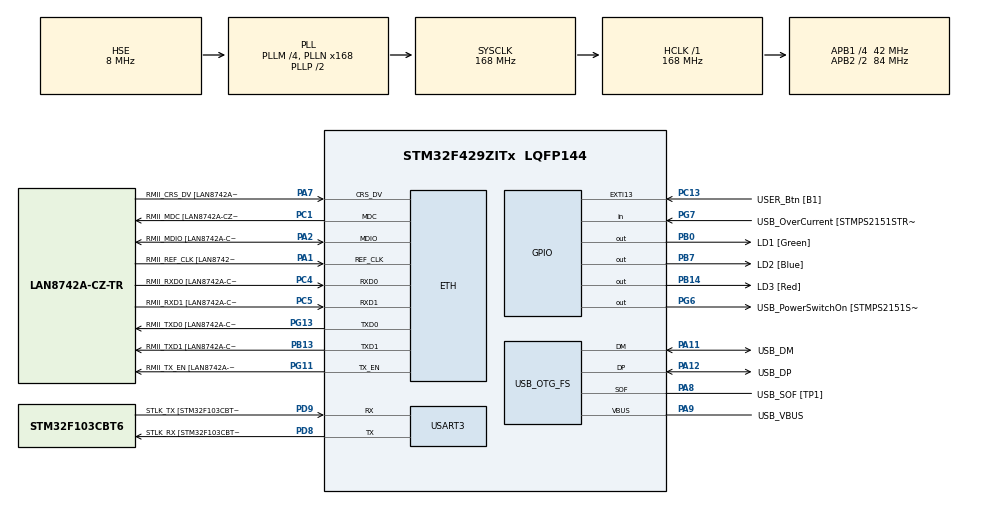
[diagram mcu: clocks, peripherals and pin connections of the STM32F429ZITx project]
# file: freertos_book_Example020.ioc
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ETH.MediaInterface=HAL_ETH_RMII_MODE
ETH.PHY_Name=LAN8742A_PHY_ADDRESS
ETH.PHY_Value=0
ETH.PhyAddress=0
FREERTOS.MEMORY_ALLOCATION=0
FREERTOS.Tasks01=defaultTask,0,128,StartDefaultTask,Default,NULL,Dynamic,NULL,NULL
FREERTOS.configUSE_NEWLIB_REENTRANT=1
Mcu.Family=STM32F4
Mcu.Name=STM32F429ZITx
Mcu.Package=LQFP144
NVIC.PriorityGroup=NVIC_PRIORITYGROUP_4
NVIC.TIM7_IRQn=true\:15\:0\:false\:false\:true\:false\:false\:true\:true
NVIC.TimeBase=TIM7_IRQn
NVIC.TimeBaseIP=TIM7
PA1.GPIO_Label=RMII_REF_CLK [LAN8742A-CZ-TR_REFCLK0]
PA1.Mode=RMII
PA1.Signal=ETH_REF_CLK
PA10.GPIO_Label=USB_ID
PA10.Signal=USB_OTG_FS_ID
PA11.GPIO_Label=USB_DM
PA11.Mode=Device_Only
PA11.Signal=USB_OTG_FS_DM
PA12.GPIO_Label=USB_DP
PA12.Mode=Device_Only
PA12.Signal=USB_OTG_FS_DP
PA13.GPIO_Label=TMS
PA13.Mode=Serial_Wire
PA13.Signal=SYS_JTMS-SWDIO
PA14.GPIO_Label=TCK
PA14.Mode=Serial_Wire
PA14.Signal=SYS_JTCK-SWCLK
PA2.GPIO_Label=RMII_MDIO [LAN8742A-CZ-TR_MDIO]
PA2.Mode=RMII
PA2.Signal=ETH_MDIO
PA7.GPIO_Label=RMII_CRS_DV [LAN8742A-CZ-TR_CRS_DV]
PA7.Mode=RMII
PA7.Signal=ETH_CRS_DV
PA8.GPIO_Label=USB_SOF [TP1]
PA8.Mode=Activate_SOF_FS
PA8.Signal=USB_OTG_FS_SOF
PA9.GPIO_Label=USB_VBUS
PA9.Mode=Activate_VBUS
PA9.Signal=USB_OTG_FS_VBUS
PB0.GPIO_Label=LD1 [Green]
PB0.Signal=GPIO_Output
PB13.GPIO_Label=RMII_TXD1 [LAN8742A-CZ-TR_TXD1]
PB13.Mode=RMII
PB13.Signal=ETH_TXD1
PB14.GPIO_Label=LD3 [Red]
PB14.Signal=GPIO_Output
PB7.GPIO_Label=LD2 [Blue]
PB7.Signal=GPIO_Output
PC1.GPIO_Label=RMII_MDC [LAN8742A-CZ-TR_MDC]
PC1.Mode=RMII
PC1.Signal=ETH_MDC
PC13.GPIO_Label=USER_Btn [B1]
PC13.Signal=GPXTI13
PC14/OSC32_IN.Mode=LSE-External-Oscillator
PC14/OSC32_IN.Signal=RCC_OSC32_IN
PC15/OSC32_OUT.Mode=LSE-External-Oscillator
PC15/OSC32_OUT.Signal=RCC_OSC32_OUT
PC4.GPIO_Label=RMII_RXD0 [LAN8742A-CZ-TR_RXD0]
PC4.Mode=RMII
PC4.Signal=ETH_RXD0
PC5.GPIO_Label=RMII_RXD1 [LAN8742A-CZ-TR_RXD1]
PC5.Mode=RMII
PC5.Signal=ETH_RXD1
PD8.GPIO_Label=STLK_RX [STM32F103CBT6_PA3]
PD8.Mode=Asynchronous
PD8.Signal=USART3_TX
PD9.GPIO_Label=STLK_TX [STM32F103CBT6_PA2]
PD9.Mode=Asynchronous
PD9.Signal=USART3_RX
PG11.GPIO_Label=RMII_TX_EN [LAN8742A-CZ-TR_TXEN]
PG11.Mode=RMII
PG11.Signal=ETH_TX_EN
PG13.GPIO_Label=RMII_TXD0 [LAN8742A-CZ-TR_TXD0]
PG13.Mode=RMII
PG13.Signal=ETH_TXD0
PG6.GPIO_Label=USB_PowerSwitchOn [STMPS2151STR_EN]
PG6.Signal=GPIO_Output
PG7.GPIO_Label=USB_OverCurrent [STMPS2151STR_FAULT]
PG7.Signal=GPIO_Input
PH0/OSC_IN.GPIO_Label=MCO [STM32F103CBT6_PA8]
PH0/OSC_IN.Mode=HSE-External-Clock-Source
PH0/OSC_IN.Signal=RCC_OSC_IN
PH1/OSC_OUT.Mode=HSE-External-Clock-Source
PH1/OSC_OUT.Signal=RCC_OSC_OUT
ProjectManager.HeapSize=0x200
ProjectManager.StackSize=0x400
ProjectManager.TargetToolchain=STM32CubeIDE
RCC.48MHZClocksFreq_Value=48000000
RCC.AHBFreq_Value=168000000
RCC.APB1CLKDivider=RCC_HCLK_DIV4
RCC.APB1Freq_Value=42000000
RCC.APB1TimFreq_Value=84000000
RCC.APB2CLKDivider=RCC_HCLK_DIV2
RCC.APB2Freq_Value=84000000
RCC.APB2TimCLKDivider=2
RCC.APB2TimFreq_Value=168000000
RCC.CortexFreq_Value=168000000
RCC.HCLKFreq_Value=168000000
RCC.HSE_VALUE=8000000
RCC.HSI_VALUE=16000000
RCC.PLLM=4
RCC.PLLMUL=RCC_PLL_MUL9
RCC.PLLN=168
RCC.PLLQ=7
RCC.PRESCALERUSB=RCC_USBCLKSOURCE_PLL_DIV1_5
RCC.SYSCLKFreq_VALUE=168000000
RCC.SYSCLKSource=RCC_SYSCLKSOURCE_PLLCLK
RCC.SYSCLKSourceVirtual=RCC_SYSCLKSOURCE_PLLCLK
RCC.USBFreq_Value=48000000
RCC.VCOOutputFreq_Value=336000000
USART3.VirtualMode=VM_ASYNC
USB_OTG_FS.VirtualMode=Device_Only
VP_FREERTOS_VS_CMSIS_V1.Mode=CMSIS_V1
VP_SYS_VS_tim7.Mode=TIM7
board=NUCLEO-F429ZI

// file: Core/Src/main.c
/* USER CODE BEGIN Header */
/**
  ******************************************************************************
  * @file           : main.c
  * @brief          : Main program body
  ******************************************************************************
  * @attention
  *
  * Copyright (c) 2022 STMicroelectronics.
  * All rights reserved.
  *
  * This software is licensed under terms that can be found in the LICENSE file
  * in the root directory of this software component.
  * If no LICENSE file comes with this software, it is provided AS-IS.
  *
  ******************************************************************************
  */
/* USER CODE END Header */
#include "main.h"
#include "string.h"
#include "cmsis_os.h"

/* USER CODE BEGIN Includes */
/* Standard includes. */
#include <stdio.h>
#include <stdlib.h>

/* Demo includes. */
#include "supportingFunctions.h"

/* USER CODE END Includes */

ETH_TxPacketConfig TxConfig;
ETH_DMADescTypeDef  DMARxDscrTab[ETH_RX_DESC_CNT]; /* Ethernet Rx DMA Descriptors */
ETH_DMADescTypeDef  DMATxDscrTab[ETH_TX_DESC_CNT]; /* Ethernet Tx DMA Descriptors */

ETH_HandleTypeDef heth;

UART_HandleTypeDef huart3;

PCD_HandleTypeDef hpcd_USB_OTG_FS;

osThreadId defaultTaskHandle;
/* USER CODE BEGIN PV */
/* Declare a variable of type SemaphoreHandle_t.  This is used to reference the
mutex type semaphore that is used to ensure mutual exclusive access to stdout. */
SemaphoreHandle_t MutexHandle;

/* The tasks block for a pseudo random time between 0 and xMaxBlockTime ticks. */
const TickType_t xMaxBlockTimeTicks = 0x20;

/* USER CODE END PV */

void SystemClock_Config(void);
static void MX_GPIO_Init(void);
static void MX_ETH_Init(void);
static void MX_USART3_UART_Init(void);
static void MX_USB_OTG_FS_PCD_Init(void);
void StartDefaultTask(void const * argument);

/* USER CODE BEGIN PFP */
void prvPrintTask(void *pvParameters);

/* The function that uses a mutex to control access to standard out. */
static void prvNewPrintString( const char *pcString );

/* USER CODE END PFP */

int main(void)
{

  /* USER CODE BEGIN 1 */
	const char *pcTextForMain = "freertos_book_Example020 is running: Re-writing vPrintString() to use a semaphore\r\n\n";

  /* USER CODE END 1 */

  /* MCU Configuration--------------------------------------------------------*/

  /* Reset of all peripherals, Initializes the Flash interface and the Systick. */
  HAL_Init();

  /* Configure the system clock */
  SystemClock_Config();

  /* Initialize all configured peripherals */
  MX_GPIO_Init();
  MX_ETH_Init();
  MX_USART3_UART_Init();
  MX_USB_OTG_FS_PCD_Init();
  /* USER CODE BEGIN 2 */
	/* Print out the name of this Example. */
	vPrintString( pcTextForMain );

  /* USER CODE END 2 */

  /* USER CODE BEGIN RTOS_SEMAPHORES */
  /* add semaphores, ... */
    /* Before a semaphore is used it must be explicitly created. */
	MutexHandle = xSemaphoreCreateMutex();

    /* Check the semaphore was created successfully */
    configASSERT( MutexHandle != NULL );

  /* USER CODE END RTOS_SEMAPHORES */

  /* Create the thread(s) */
  /* definition and creation of defaultTask */
  osThreadDef(defaultTask, StartDefaultTask, osPriorityNormal, 0, 128);
  defaultTaskHandle = osThreadCreate(osThread(defaultTask), NULL);

  /* USER CODE BEGIN RTOS_THREADS */
  /* add threads, ... */
	/* Create two instances of the tasks that attempt to write stdout.  The
	string they attempt to write is passed into the task as the task's
	parameter.  The tasks are created at different priorities so some
	pre-emption will occur. */
	BaseType_t ret;

	/* Printer 1 thread at priority 1 */
	ret = xTaskCreate( prvPrintTask,				/* Pointer to the function thats implement the task. */
					   "Print 1",					/* Text name for the task. This is to facilitate debugging only. */
					   (4 * configMINIMAL_STACK_SIZE),	/* Stack depth in words. 				*/
					   ( void * ) "Task 1 ******************************************\r\n",		/* Pass the string to be used in as the task parameter.	*/
					   (tskIDLE_PRIORITY + 1UL),	/* This task will run at priority 1. 		*/
		               NULL );          	        /* We are not using the task handle. */

	/* Check the task was created successfully. */
	configASSERT( ret == pdPASS );

	/* Printer 2 thread at priority 2 */
	ret = xTaskCreate( prvPrintTask,				/* Pointer to the function thats implement the task. */
					   "Print 2",					/* Text name for the task. This is to facilitate debugging only. */
					   (4 * configMINIMAL_STACK_SIZE),	/* Stack depth in words. 				*/
					   ( void * ) "Task 2 ------------------------------------------\r\n",		/* Pass the string to be used in as the task parameter.	*/
					   (tskIDLE_PRIORITY + 2UL),	/* This task will run at priority 2. 		*/
		               NULL );          	        /* We are not using the task handle. */

	/* Check the task was created successfully. */
	configASSERT( ret == pdPASS );

  /* USER CODE END RTOS_THREADS */

  /* Start scheduler */
  osKernelStart();

  /* We should never get here as control is now taken by the scheduler */

  /* Infinite loop */
  while (1)
  {

  }
}

void SystemClock_Config(void)
{
  RCC_OscInitTypeDef RCC_OscInitStruct = {0};
  RCC_ClkInitTypeDef RCC_ClkInitStruct = {0};

  /** Configure the main internal regulator output voltage
  */
  __HAL_RCC_PWR_CLK_ENABLE();
  __HAL_PWR_VOLTAGESCALING_CONFIG(PWR_REGULATOR_VOLTAGE_SCALE1);

  /** Initializes the RCC Oscillators according to the specified parameters
  * in the RCC_OscInitTypeDef structure.
  */
  RCC_OscInitStruct.OscillatorType = RCC_OSCILLATORTYPE_HSE;
  RCC_OscInitStruct.HSEState = RCC_HSE_BYPASS;
  RCC_OscInitStruct.PLL.PLLState = RCC_PLL_ON;
  RCC_OscInitStruct.PLL.PLLSource = RCC_PLLSOURCE_HSE;
  RCC_OscInitStruct.PLL.PLLM = 4;
  RCC_OscInitStruct.PLL.PLLN = 168;
  RCC_OscInitStruct.PLL.PLLP = RCC_PLLP_DIV2;
  RCC_OscInitStruct.PLL.PLLQ = 7;
  if (HAL_RCC_OscConfig(&RCC_OscInitStruct) != HAL_OK)
  {
    Error_Handler();
  }

  /** Initializes the CPU, AHB and APB buses clocks
  */
  RCC_ClkInitStruct.ClockType = RCC_CLOCKTYPE_HCLK|RCC_CLOCKTYPE_SYSCLK
                              |RCC_CLOCKTYPE_PCLK1|RCC_CLOCKTYPE_PCLK2;
  RCC_ClkInitStruct.SYSCLKSource = RCC_SYSCLKSOURCE_PLLCLK;
  RCC_ClkInitStruct.AHBCLKDivider = RCC_SYSCLK_DIV1;
  RCC_ClkInitStruct.APB1CLKDivider = RCC_HCLK_DIV4;
  RCC_ClkInitStruct.APB2CLKDivider = RCC_HCLK_DIV2;

  if (HAL_RCC_ClockConfig(&RCC_ClkInitStruct, FLASH_LATENCY_5) != HAL_OK)
  {
    Error_Handler();
  }
}

static void MX_ETH_Init(void)
{

   static uint8_t MACAddr[6];

  heth.Instance = ETH;
  MACAddr[0] = 0x00;
  MACAddr[1] = 0x80;
  MACAddr[2] = 0xE1;
  MACAddr[3] = 0x00;
  MACAddr[4] = 0x00;
  MACAddr[5] = 0x00;
  heth.Init.MACAddr = &MACAddr[0];
  heth.Init.MediaInterface = HAL_ETH_RMII_MODE;
  heth.Init.TxDesc = DMATxDscrTab;
  heth.Init.RxDesc = DMARxDscrTab;
  heth.Init.RxBuffLen = 1524;

  if (HAL_ETH_Init(&heth) != HAL_OK)
  {
    Error_Handler();
  }

  memset(&TxConfig, 0 , sizeof(ETH_TxPacketConfig));
  TxConfig.Attributes = ETH_TX_PACKETS_FEATURES_CSUM | ETH_TX_PACKETS_FEATURES_CRCPAD;
  TxConfig.ChecksumCtrl = ETH_CHECKSUM_IPHDR_PAYLOAD_INSERT_PHDR_CALC;
  TxConfig.CRCPadCtrl = ETH_CRC_PAD_INSERT;

}

static void MX_USART3_UART_Init(void)
{

  huart3.Instance = USART3;
  huart3.Init.BaudRate = 115200;
  huart3.Init.WordLength = UART_WORDLENGTH_8B;
  huart3.Init.StopBits = UART_STOPBITS_1;
  huart3.Init.Parity = UART_PARITY_NONE;
  huart3.Init.Mode = UART_MODE_TX_RX;
  huart3.Init.HwFlowCtl = UART_HWCONTROL_NONE;
  huart3.Init.OverSampling = UART_OVERSAMPLING_16;
  if (HAL_UART_Init(&huart3) != HAL_OK)
  {
    Error_Handler();
  }

}

static void MX_USB_OTG_FS_PCD_Init(void)
{

  hpcd_USB_OTG_FS.Instance = USB_OTG_FS;
  hpcd_USB_OTG_FS.Init.dev_endpoints = 4;
  hpcd_USB_OTG_FS.Init.speed = PCD_SPEED_FULL;
  hpcd_USB_OTG_FS.Init.dma_enable = DISABLE;
  hpcd_USB_OTG_FS.Init.phy_itface = PCD_PHY_EMBEDDED;
  hpcd_USB_OTG_FS.Init.Sof_enable = ENABLE;
  hpcd_USB_OTG_FS.Init.low_power_enable = DISABLE;
  hpcd_USB_OTG_FS.Init.lpm_enable = DISABLE;
  hpcd_USB_OTG_FS.Init.vbus_sensing_enable = ENABLE;
  hpcd_USB_OTG_FS.Init.use_dedicated_ep1 = DISABLE;
  if (HAL_PCD_Init(&hpcd_USB_OTG_FS) != HAL_OK)
  {
    Error_Handler();
  }

}

static void MX_GPIO_Init(void)
{
  GPIO_InitTypeDef GPIO_InitStruct = {0};

  /* GPIO Ports Clock Enable */
  __HAL_RCC_GPIOC_CLK_ENABLE();
  __HAL_RCC_GPIOH_CLK_ENABLE();
  __HAL_RCC_GPIOA_CLK_ENABLE();
  __HAL_RCC_GPIOB_CLK_ENABLE();
  __HAL_RCC_GPIOD_CLK_ENABLE();
  __HAL_RCC_GPIOG_CLK_ENABLE();

  /*Configure GPIO pin Output Level */
  HAL_GPIO_WritePin(GPIOB, LD1_Pin|LD3_Pin|LD2_Pin, GPIO_PIN_RESET);

  /*Configure GPIO pin Output Level */
  HAL_GPIO_WritePin(USB_PowerSwitchOn_GPIO_Port, USB_PowerSwitchOn_Pin, GPIO_PIN_RESET);

  /*Configure GPIO pin : USER_Btn_Pin */
  GPIO_InitStruct.Pin = USER_Btn_Pin;
  GPIO_InitStruct.Mode = GPIO_MODE_IT_RISING;
  GPIO_InitStruct.Pull = GPIO_NOPULL;
  HAL_GPIO_Init(USER_Btn_GPIO_Port, &GPIO_InitStruct);

  /*Configure GPIO pins : LD1_Pin LD3_Pin LD2_Pin */
  GPIO_InitStruct.Pin = LD1_Pin|LD3_Pin|LD2_Pin;
  GPIO_InitStruct.Mode = GPIO_MODE_OUTPUT_PP;
  GPIO_InitStruct.Pull = GPIO_NOPULL;
  GPIO_InitStruct.Speed = GPIO_SPEED_FREQ_LOW;
  HAL_GPIO_Init(GPIOB, &GPIO_InitStruct);

  /*Configure GPIO pin : USB_PowerSwitchOn_Pin */
  GPIO_InitStruct.Pin = USB_PowerSwitchOn_Pin;
  GPIO_InitStruct.Mode = GPIO_MODE_OUTPUT_PP;
  GPIO_InitStruct.Pull = GPIO_NOPULL;
  GPIO_InitStruct.Speed = GPIO_SPEED_FREQ_LOW;
  HAL_GPIO_Init(USB_PowerSwitchOn_GPIO_Port, &GPIO_InitStruct);

  /*Configure GPIO pin : USB_OverCurrent_Pin */
  GPIO_InitStruct.Pin = USB_OverCurrent_Pin;
  GPIO_InitStruct.Mode = GPIO_MODE_INPUT;
  GPIO_InitStruct.Pull = GPIO_NOPULL;
  HAL_GPIO_Init(USB_OverCurrent_GPIO_Port, &GPIO_InitStruct);

}

/* USER CODE BEGIN 4 */
static void prvNewPrintString( const char *pcString )
{
	/* The semaphore is created before the scheduler is started so already
	exists by the time this task executes.

	Attempt to take the semaphore, blocking indefinitely if the mutex is not
	available immediately.  The call to xSemaphoreTake() will only return when
	the semaphore has been successfully obtained so there is no need to check the
	return value.  If any other delay period was used then the code must check
	that xSemaphoreTake() returns pdTRUE before accessing the resource (in this
	case standard out. */
	xSemaphoreTake( MutexHandle, portMAX_DELAY );
	{
		/* The following line will only execute once the semaphore has been
		successfully obtained - so standard out can be accessed freely. */
		printf( "%s", pcString );
		fflush( stdout );
	}

	/* 'Give' the semaphore to unblock the task. */
	xSemaphoreGive( MutexHandle );
}

/* USER CODE BEGIN Header_prvPrintTask */
/**
  * @brief  Function implementing the Print1 thread.
  * @param  argument: Not used
  * @retval None
  */
/* USER CODE END Header_prvPrintTask */
void prvPrintTask(void *pvParameters)
{
	char *pcStringToPrint;
	const TickType_t xSlowDownDelay = pdMS_TO_TICKS( 5UL );

	/* Print out the name of this task. */
	vPrintString( "Print 1/2 is running\r\n" );

	/* Two instances of this task are created.  The string printed by the task
	is passed into the task using the task's parameter.  The parameter is cast
	to the required type. */
	pcStringToPrint = ( char * ) pvParameters;

	for( ;; )
	{
		/* Print out the string using the newly defined function. */
		prvNewPrintString( pcStringToPrint );

		/* Wait a pseudo random time.  Note that rand() is not necessarily
		re-entrant, but in this case it does not really matter as the code does
		not care what value is returned.  In a more secure application a version
		of rand() that is known to be re-entrant should be used - or calls to
		rand() should be protected using a critical section. */
		vTaskDelay( rand() % xMaxBlockTimeTicks );

		/* Just to ensure the scrolling is not too fast! */
		vTaskDelay( xSlowDownDelay );
	}
}

/* USER CODE END 4 */

void StartDefaultTask(void const * argument)
{
  /* USER CODE BEGIN 5 */
  /* Infinite loop */
  for(;;)
  {
    osDelay(50000);
  }
  /* USER CODE END 5 */
}

void HAL_TIM_PeriodElapsedCallback(TIM_HandleTypeDef *htim)
{
  if (htim->Instance == TIM7) {
    HAL_IncTick();
  }
}

void Error_Handler(void)
{
  __disable_irq();
  while (1)
  {
  }
}
